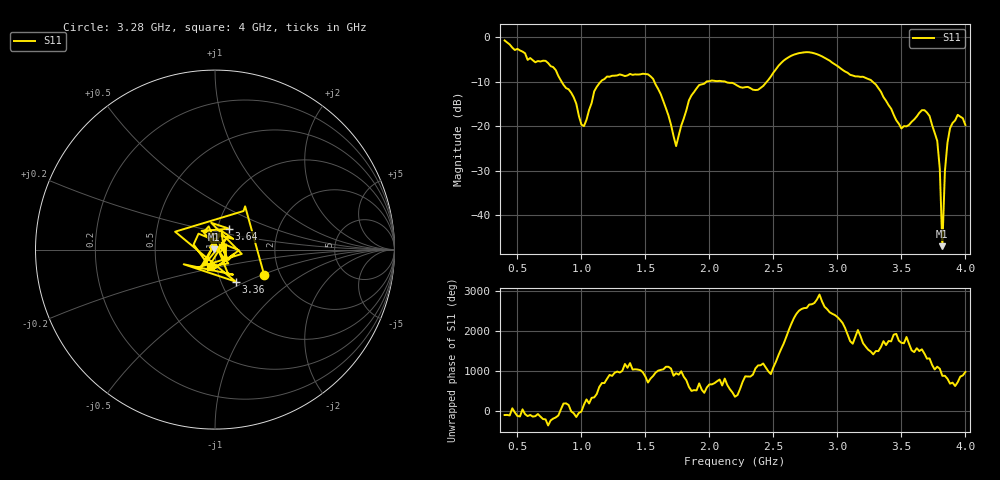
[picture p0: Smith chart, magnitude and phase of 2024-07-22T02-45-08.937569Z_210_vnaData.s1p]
!Created with skrf (http://scikit-rf.org).
# Hz S RI R 50.0
!freq ReS11 ImS11
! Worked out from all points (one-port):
!   181 points, 400 MHz to 4 GHz, reference 50 ohm
!   lowest |S11| = -47.0 dB at 3.82 GHz (marker M1), VSWR 1.01, Z = 49.6 + j0.174 ohm
!   |S11| at or under -10 dB: 1.57 GHz to 1.978 GHz (408.6 MHz wide, 23 % of centre); 2.122 GHz to 2.45 GHz (327.5 MHz wide, 14.3 % of centre); 3.274 GHz to end of sweep (the widest 3 of 4)
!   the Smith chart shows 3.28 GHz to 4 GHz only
!   S11 on the Smith chart (normalised r, x): 3.28 GHz: 1.65, -0.53; 3.36 GHz: 1.17, -0.44; 3.64 GHz: 1.14, +0.27; 4 GHz: 0.93, -0.19
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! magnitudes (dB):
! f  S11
! 400 MHz  -0.8
! 720 MHz  -5.3
! 860 MHz  -10.7
! 1.02 GHz  -20.0
! 1.12 GHz  -11.2
! 1.3 GHz  -8.4
! 1.56 GHz  -9.4
! 1.74 GHz  -24.5
! 1.76 GHz  -22.1
! 1.84 GHz  -14.2
! 1.92 GHz  -10.8
! 2.2 GHz  -10.6
! 2.38 GHz  -11.8
! 2.66 GHz  -4.0
! 3.1 GHz  -8.5
! 3.28 GHz  -10.2
! 3.36 GHz  -13.5
! 3.5 GHz  -20.5
! 3.56 GHz  -19.7
! 3.64 GHz  -17.0
! 3.72 GHz  -17.7
! 3.78 GHz  -23.3
! 3.8 GHz  -29.6
! 3.82 GHz  -47.0
! 3.84 GHz  -30.1
! 3.88 GHz  -20.5
! 3.94 GHz  -17.5
! 4 GHz  -19.8
